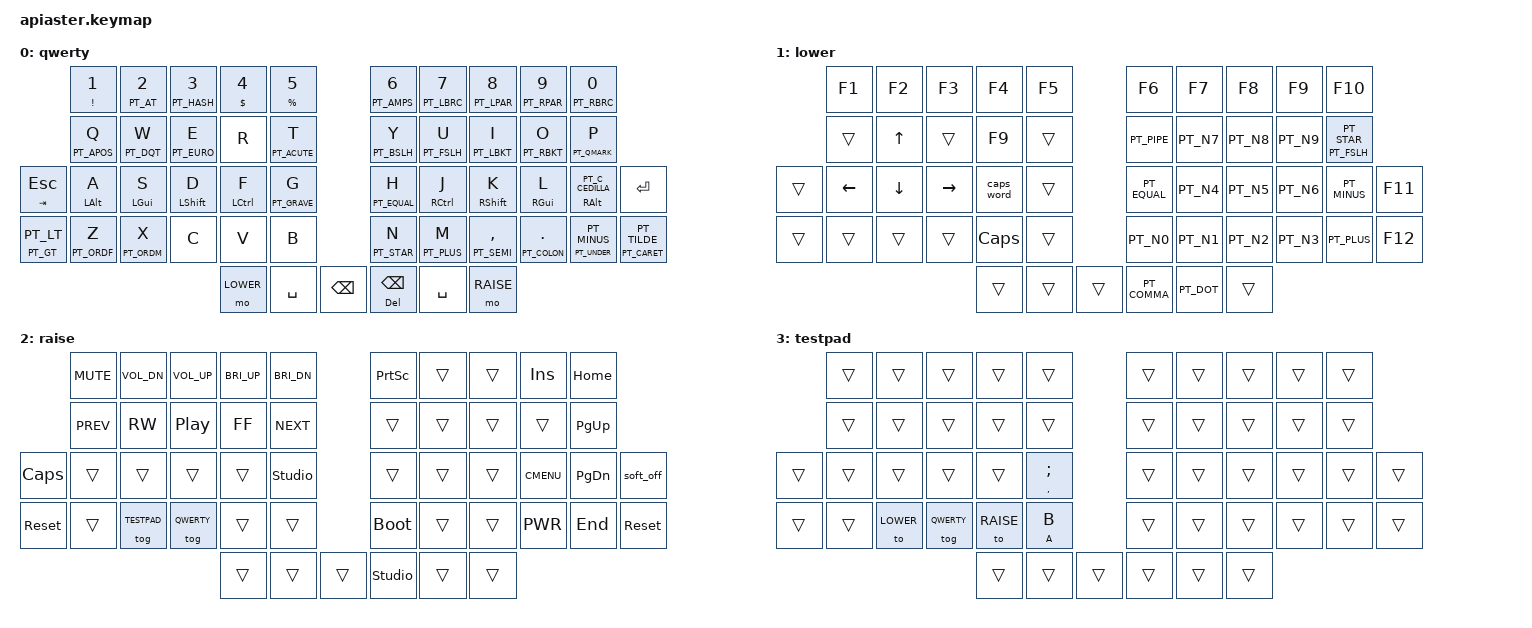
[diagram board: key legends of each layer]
#include <behaviors.dtsi>
#include <dt-bindings/zmk/keys.h>
#include <dt-bindings/zmk/bt.h>
#include "keys_pt.h"

#define QWERTY 0
#define LOWER 1
#define RAISE 2
#define TESTPAD 3

#define KEYS_L 0 1 2 3 4 10 11 12 13 14 20 21 22 23 24 25 32 33 34 35 36 37
#define KEYS_R 5 6 7 8 9 15 16 17 18 19 26 27 28 29 30 31 38 39 40 41 42 43
#define THUMBS_L 44 45 46
#define THUMBS_R 47 48 49

/ {    

    behaviors {
        hl: home_row_hold_tap_left {
            compatible = "zmk,behavior-hold-tap";
            #binding-cells = <2>;
            flavor = "balanced";
            tapping-term-ms = <280>;
            quick-tap-ms = <175>;                // repeat on tap-into-hold
            require-prior-idle-ms = <150>;
            bindings = <&kp>, <&kp>;
            hold-trigger-key-positions = <KEYS_R THUMBS_R>;
            hold-trigger-on-release;             // delay positional check until key-release
        };

        hr: home_row_hold_tap_right {
            compatible = "zmk,behavior-hold-tap";
            #binding-cells = <2>;
            flavor = "balanced";
            tapping-term-ms = <280>;
            quick-tap-ms = <175>;                // repeat on tap-into-hold
            require-prior-idle-ms = <150>;
            bindings = <&kp>, <&kp>;
            hold-trigger-key-positions = <KEYS_L THUMBS_L>;
            hold-trigger-on-release;             // delay positional check until key-release
        };

        td_rst: reset_tap_dance {
            compatible = "zmk,behavior-tap-dance";
            #binding-cells = <0>;
            tapping-term-ms = <200>;
            bindings = <&sys_reset>, <&bootloader>;
        };
		
		// &caps_word {
		// 	continue-list = <UNDERSCORE MINUS>;
		// };
		
		
		// TO TEST adjust the mod tap settings
		//&mt {
		//	tapping-term-ms = <300>; //  200 This is the value already set by default
		//};


    };

    keymap {
        compatible = "zmk,keymap";
        
        qwerty_layer {
            display-name = "qwerty";
// ------------------------------------------------------------------------------------------------------------
//         |   1 ! |   2 @ |    3 #  |   4 $  |   5 % |              | 6 & |   7 {  |    8 (  |   9 ) |   0 } |       
//         |   Q ' |   W " |    E €  |   R    |   T ´ |              | Y \ |   U /  |    I [  |   O ] |   P ? |        
// |ESC TAB| ALT/A | GUI/S | SHIFT/D | CTRL/F |   G ` |              | H = | CTRL/J | SHIFT/K | GUI/L | ALT/Ç | ENTER |
// |  < >  |   Z ª |   X º |    C    |   V    |   B   |              | N * |   M +  |    , ;  |  . :  |  -  _ |   ~ ^ |
//                                   | LOWER  | SPACE | BACK |  | DEL|SPACE| RAISE  | 
            bindings = <
				&mt EXCL N1   &mt PT_AT N2  &mt PT_HASH N3  &mt DLLR N4   &mt PRCNT N5             		 &mt PT_AMPS N6 &mt PT_LBRC N7 &mt PT_LPAR N8    &mt PT_RPAR N9   	&mt PT_RBRC N0
				&mt PT_APOS Q &mt PT_DQT W  &mt PT_EURO E   &kp R         &mt PT_ACUTE T            	 &mt PT_BSLH Y  &mt PT_FSLH U  &mt PT_LBKT I     &mt PT_RBKT O    	&mt PT_QMARK P
&mt TAB ESC   	&hl LALT A    &hl LGUI S    &hl LSHFT D 	&hl LCTRL F   &mt PT_GRAVE G              	 &mt PT_EQUAL H &hr RCTRL J    &hr RSHFT K		 &hr RGUI L 		&hr RALT PT_C_CEDILLA  &kp ENTER
&mt PT_GT PT_LT &mt PT_ORDF Z &mt PT_ORDM X &kp C       	&kp V         &kp B                   		 &mt PT_STAR N  &mt PT_PLUS M  &mt PT_SEMI COMMA &mt PT_COLON DOT  	&mt PT_UNDER PT_MINUS  &mt PT_CARET PT_TILDE
															&mo LOWER     &kp SPACE &kp BSPC  &mt DEL BSPC &kp SPACE      &mo RAISE
            >;
        };


        lower_layer {
            display-name = "lower";
// ------------------------------------------------------------------------------------------------------------
//         |  F1 |  F2 |  F3  |  F4  |  F5  |                   |  F6  |  F7  |  F8  |  F9  |  F10  |       
//         |     |  ^  |      |  F9  |      |                   |  |   |  7   |   8  |   9  |  * /  |      
// |       |  <- |  v  |  ->  | CAPSw|      |                   |  =   |  4   |   5  |   6  |   -   |  F11  |
// |       |     |     |      | CAPS |      |                   |  0   |  1   |   2  |   3  |   +   |  F12  |
//                            |      |      |    |         |  , |  .   |      |              
            bindings = <
         &kp F1        &kp F2      &kp F3         &kp F4         &kp F5                    		&kp F6        &kp F7         &kp F8      &kp F9     &kp F10   
         &trans        &kp UP      &trans         &kp F9         &trans                     	&kp PT_PIPE   &kp PT_N7      &kp PT_N8   &kp PT_N9  &mt PT_FSLH PT_STAR     
&trans   &kp LEFT      &kp DOWN    &kp RIGHT      &caps_word	 &trans                     	&kp PT_EQUAL  &kp PT_N4      &kp PT_N5   &kp PT_N6  &kp PT_MINUS     &kp F11
&trans   &trans        &trans      &trans         &kp CLCK          &trans                   	    &kp PT_N0     &kp PT_N1      &kp PT_N2   &kp PT_N3  &kp PT_PLUS      &kp F12
                                                  &trans         &trans   &trans  &kp PT_COMMA  &kp PT_DOT    &trans     
            >;
        };


        raise_layer {
            display-name = "raise";
// ------------------------------------------------------------------------------------------------------------
//         | MUTE | VOL-   |  VOL+   | BRI+        |  BRI-  |                 |PRNTSCR|      |       |  INS  |   HOME   | 
//         | PREV | REWIND | PAUSE   | FASTFORWARD |  NEXT  |                 |       |      |       |       |   PGUP   |       
// | CAPS  |      |        |         |             | studio |                 |       |      |       |       |   PGDN   | off     |
// | reset |      | TESTPAD| QWERTY  |             |        |                 |  boot |      |       | POWER |   END    | reset   |
//                                   |             |        |      | | studio |       |      |
            bindings = <
           &kp C_MUTE &kp C_VOL_DN &kp C_VOL_UP &kp C_BRI_UP &kp C_BRI_DN                &kp PSCRN    &trans       &trans       &kp INS      &kp HOME                 
           &kp C_PREV &kp C_RW     &kp C_PP     &kp C_FF     &kp C_NEXT                   &trans       &trans       &trans       &trans       &kp PG_UP
&kp CLCK   &trans     &trans       &trans       &trans       &studio_unlock               &trans       &trans       &trans       &kp K_CMENU  &kp PG_DN    &soft_off
&sys_reset &trans     &tog TESTPAD &tog QWERTY  &trans       &trans                       &bootloader  &trans       &trans       &kp C_PWR    &kp END      &sys_reset
                                                &trans       &trans &trans      &studio_unlock   &trans    &trans 
            >;
        };
		
					
        testpad_layer {
            display-name = "testpad";
// ------------------------------------------------------------------------------------------------------------
//         |   |   |    |   |   |                |    |     |      |    |    | 
//         |   |   |    |   |   |                |    |     |      |    |    |       
// |   |   |   |   |    |   |   |                |    |     |      |    |    |    |
// |   |   |   |   |    |   |   |                |    |     |      |    |    |    |
//                      |   |   |   |       |    |    |     |
            bindings = <
           &trans     &trans       &trans        &trans     &trans              	  &trans    &trans   &trans   &trans   &trans                
           &trans     &trans       &trans        &trans     &trans             		  &trans    &trans   &trans   &trans   &trans 
&trans     &trans     &trans       &trans        &trans     &mt COMMA SEMI         	  &trans    &trans   &trans   &trans   &trans     &trans 
&trans     &trans     &to LOWER    &tog QWERTY   &to RAISE  &mt A B            		  &trans    &trans   &trans   &trans   &trans     &trans 
                                                 &trans     &trans   &trans   &trans  &trans    &trans 
            >;
        };	
		
		
		
        extra1 {
            status = "reserved";
        };

        extra2 {
            status = "reserved";
        };

        extra3 {
            status = "reserved";
        };

        extra4 {
            status = "reserved";
        };

        extra5 {
            status = "reserved";
        };
    };
};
